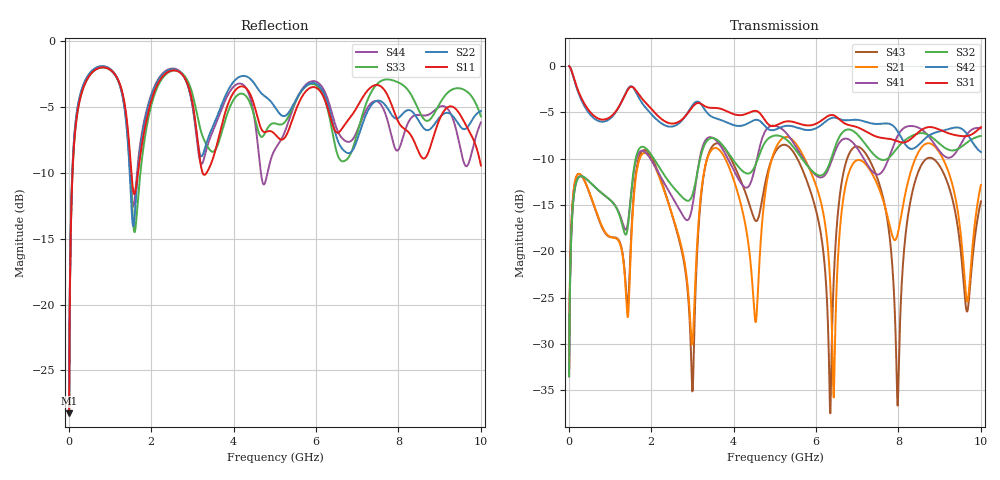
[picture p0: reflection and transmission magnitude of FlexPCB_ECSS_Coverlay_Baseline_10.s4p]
! TOUCHSTONE file generated by CST MICROWAVE STUDIO
! Date and time: Sun Jul  5 19:09:36 2026
! Project name: FlexPCB_ECSS_Coverlay_Baseline.cst
! Parameters = {Gap=0.6; GroundW=5.4; Hadh=0.025; Hcov=0.025; Hsub=0.1; L=50; Tcu=0.035; W=0.18}
! Header version: 2024
! Port assignment regex: !\s*Touchstone port\s*([0-9]+)\s*=\s*(CST MWS port|CST DES external port|CST DES block port)\s*(.+)\s* \(\"(.*)\"\)(\s*mode\s*([0-9]+))?.*
! Touchstone port assignment:
! Touchstone port 1 = CST MWS port 1 ("")
! Touchstone port 2 = CST MWS port 2 ("")
! Touchstone port 3 = CST MWS port 3 ("")
! Touchstone port 4 = CST MWS port 4 ("")
# GHz S MA R 50
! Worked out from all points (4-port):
!   1002 points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, 10 MHz to 10 GHz, reference 50 ohm
!   strongest paths, dB at 10 MHz, 2.51 GHz, 5.01 GHz, 7.503 GHz, 10 GHz:
!     S31: 0.0, -6.2, -6.4, -7.7, -6.6
!     S42: 0.0, -6.5, -6.9, -6.3, -9.3
!     S32: -33.5, -12.9, -7.5, -9.9, -7.5
!     S41: -33.5, -14.1, -6.5, -11.7, -6.7
!     S21: -32.6, -16.0, -9.0, -12.9, -12.9
!     S43: -32.6, -16.1, -9.3, -12.3, -14.6
!   lowest |S11| = -28.2 dB at 10 MHz (marker M1), VSWR 1.08, Z = 49.7 - j3.85 ohm
!   |S11| at or under -10 dB: start of sweep to 92.17 MHz; 1.52 GHz to 1.681 GHz (161.3 MHz wide, 10.1 % of centre); 3.247 GHz to 3.348 GHz (101.2 MHz wide, 3.07 % of centre)
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0.01  0.0387 -91.8  0.02348 84.9  0.9976 -2.7  0.0212 84.9
      0.02348 84.9  0.04061 -92.0  0.0212 84.9  0.9975 -2.8
      0.9976 -2.7  0.0212 84.9  0.0387 -91.8  0.02348 84.9
      0.0212 84.9  0.9975 -2.8  0.02348 84.9  0.04061 -92.0
1.57  0.2667 161.0  0.1838 63.5  0.7651 -172.8  0.2604 -110.6
      0.1838 63.5  0.198 174.0  0.2671 -106.3  0.762 -176.3
      0.7651 -172.8  0.2671 -106.3  0.1992 154.8  0.1939 63.5
      0.2604 -110.6  0.762 -176.3  0.1939 63.5  0.2352 173.0
3.18  0.3579 142.2  0.175 93.9  0.6292 19.0  0.3186 91.3
      0.175 93.9  0.3735 163.1  0.3089 80.7  0.6335 12.8
      0.6292 19.0  0.3089 80.7  0.472 153.1  0.1657 70.7
      0.3186 91.3  0.6335 12.8  0.1657 70.7  0.3519 155.1
4.73  0.4512 159.9  0.1752 49.6  0.5221 -158.1  0.4277 -83.9
      0.1752 49.6  0.6204 165.8  0.3759 -97.6  0.4827 -154.7
      0.5221 -158.1  0.3759 -97.6  0.4377 174.5  0.2112 110.0
      0.4277 -83.9  0.4827 -154.7  0.2112 110.0  0.2851 162.7
6.34  0.5182 150.6  0.0707 -118.5  0.5426 36.9  0.2922 99.5
      0.0707 -118.5  0.5371 148.4  0.3033 96.5  0.5203 40.8
      0.5426 36.9  0.3033 96.5  0.5009 150.3  0.01349 -19.1
      0.2922 99.5  0.5203 40.8  0.01349 -19.1  0.5637 153.9
6.88  0.5244 168.9  0.2929 -13.2  0.4756 -27.1  0.3889 23.3
      0.2929 -13.2  0.3827 175.7  0.4488 19.2  0.5128 -23.9
      0.4756 -27.1  0.4488 19.2  0.3861 -171.9  0.3575 -2.6
      0.3889 23.3  0.5128 -23.9  0.3575 -2.6  0.4211 173.8
10  0.3366 126.9  0.2278 14.1  0.4677 5.5  0.4608 55.2
    0.2278 14.1  0.5416 178.4  0.4196 43.9  0.3436 -19.1
    0.4677 5.5  0.4196 43.9  0.5167 145.6  0.186 -12.9
    0.4608 55.2  0.3436 -19.1  0.186 -12.9  0.4899 -177.3
